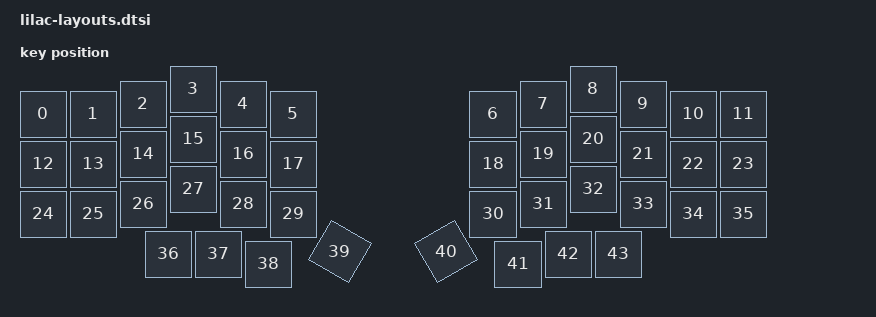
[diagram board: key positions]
#include <physical_layouts.dtsi>

/ {
    physical_layout0 {
        compatible = "zmk,physical-layout";
        display-name = "Default";

        kscan = <&kscan0>;
        transform = <&default_transform>;

        keys  //                     w   h    x    y     rot    rx    ry
            = <&key_physical_attrs 100 100    0   50       0     0     0>
            , <&key_physical_attrs 100 100  100   50       0     0     0>
            , <&key_physical_attrs 100 100  200   30       0     0     0>
            , <&key_physical_attrs 100 100  300    0       0     0     0>
            , <&key_physical_attrs 100 100  400   30       0     0     0>
            , <&key_physical_attrs 100 100  500   50       0     0     0>
            , <&key_physical_attrs 100 100  900   50       0     0     0>
            , <&key_physical_attrs 100 100 1000   30       0     0     0>
            , <&key_physical_attrs 100 100 1100    0       0     0     0>
            , <&key_physical_attrs 100 100 1200   30       0     0     0>
            , <&key_physical_attrs 100 100 1300   50       0     0     0>
            , <&key_physical_attrs 100 100 1400   50       0     0     0>
            , <&key_physical_attrs 100 100    0  150       0     0     0>
            , <&key_physical_attrs 100 100  100  150       0     0     0>
            , <&key_physical_attrs 100 100  200  130       0     0     0>
            , <&key_physical_attrs 100 100  300  100       0     0     0>
            , <&key_physical_attrs 100 100  400  130       0     0     0>
            , <&key_physical_attrs 100 100  500  150       0     0     0>
            , <&key_physical_attrs 100 100  900  150       0     0     0>
            , <&key_physical_attrs 100 100 1000  130       0     0     0>
            , <&key_physical_attrs 100 100 1100  100       0     0     0>
            , <&key_physical_attrs 100 100 1200  130       0     0     0>
            , <&key_physical_attrs 100 100 1300  150       0     0     0>
            , <&key_physical_attrs 100 100 1400  150       0     0     0>
            , <&key_physical_attrs 100 100    0  250       0     0     0>
            , <&key_physical_attrs 100 100  100  250       0     0     0>
            , <&key_physical_attrs 100 100  200  230       0     0     0>
            , <&key_physical_attrs 100 100  300  200       0     0     0>
            , <&key_physical_attrs 100 100  400  230       0     0     0>
            , <&key_physical_attrs 100 100  500  250       0     0     0>
            , <&key_physical_attrs 100 100  900  250       0     0     0>
            , <&key_physical_attrs 100 100 1000  230       0     0     0>
            , <&key_physical_attrs 100 100 1100  200       0     0     0>
            , <&key_physical_attrs 100 100 1200  230       0     0     0>
            , <&key_physical_attrs 100 100 1300  250       0     0     0>
            , <&key_physical_attrs 100 100 1400  250       0     0     0>
            , <&key_physical_attrs 100 100  250  330       0     0     0>
            , <&key_physical_attrs 100 100  350  330       0     0     0>
            , <&key_physical_attrs 100 100  450  350       0     0     0>
            , <&key_physical_attrs 100 100  550  350 (-6000)   600   350>
            , <&key_physical_attrs 100 100  850  350    6000   900   350>
            , <&key_physical_attrs 100 100  950  350       0     0     0>
            , <&key_physical_attrs 100 100 1050  330       0     0     0>
            , <&key_physical_attrs 100 100 1150  330       0     0     0>
            ;
        };
};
